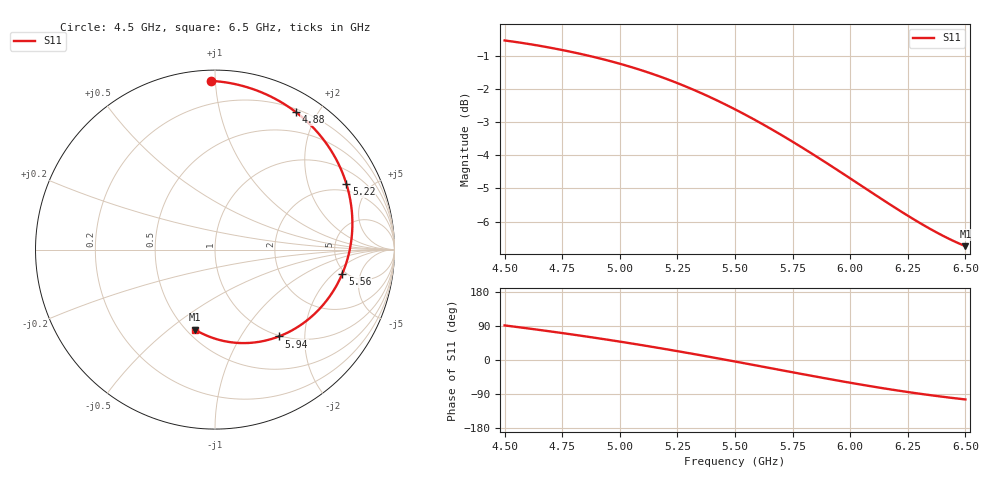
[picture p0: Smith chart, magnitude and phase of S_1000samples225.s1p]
! TOUCHSTONE file generated by CST MICROWAVE STUDIO
! Date and time: Thu Oct 27 10:43:17 2022
! Project name: L.cst
! Parameters = {Di=1.27; Epsilon_r=1.56; InnerDiameter=1.27; Length=2; Lf=10; Lg=60; OuterConductorThickness=0.2921; OuterDiameter=3.6; Wf=3; Wp=41.2; de=1.5; df=6.8; g=0.8; gx=2.00104; gy=3.96458; h=2.34; hf=1.524; px=11.1324; py=9.1235; w=9.7; wx=9.13141; wy=5.15891}
! Header version: 2018
! Port assignment regex: !\s*Touchstone port\s*([0-9]+)\s*=\s*(CST MWS port|CST DS port)\s*([0-9]+|Zmin|Zmax)\s*\(\"(.*)\"\)(\s*mode\s*([0-9]+))?.*
! Touchstone port assignment:
! Touchstone port 1 = CST MWS port 1 ("")
# GHz S DB R 50
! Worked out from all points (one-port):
!   101 points, 4.5 GHz to 6.5 GHz, reference 50 ohm
!   lowest |S11| = -6.7 dB at 6.5 GHz (marker M1), VSWR 2.71, Z = 27.4 - j31.1 ohm
!   |S11| at or under -10 dB: nowhere
!   S11 on the Smith chart (normalised r, x): 4.5 GHz: 0.06, +0.98; 4.88 GHz: 0.23, +1.72; 5.22 GHz: 1.61, +3.56; 5.56 GHz: 4.66, -2.62; 5.94 GHz: 0.99, -1.49; 6.5 GHz: 0.55, -0.62
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4.5  -0.54 91.3
4.58  -0.61 85.0
4.64  -0.68 80.2
4.7  -0.76 75.3
4.76  -0.84 70.2
4.82  -0.93 65.0
4.88  -1.02 59.7
4.94  -1.12 54.2
5  -1.24 48.5
5.06  -1.36 42.7
5.12  -1.49 36.8
5.22  -1.74 26.5
5.26  -1.85 22.3
5.32  -2.02 15.9
5.38  -2.21 9.3
5.44  -2.40 2.7
5.5  -2.61 -4.0
5.56  -2.83 -10.8
5.66  -3.22 -22.2
5.76  -3.63 -33.5
5.86  -4.07 -44.8
5.94  -4.42 -53.6
6  -4.70 -60.0
6.06  -4.97 -66.3
6.12  -5.24 -72.3
6.26  -5.86 -85.4
6.38  -6.34 -95.3
6.5  -6.74 -104.1
